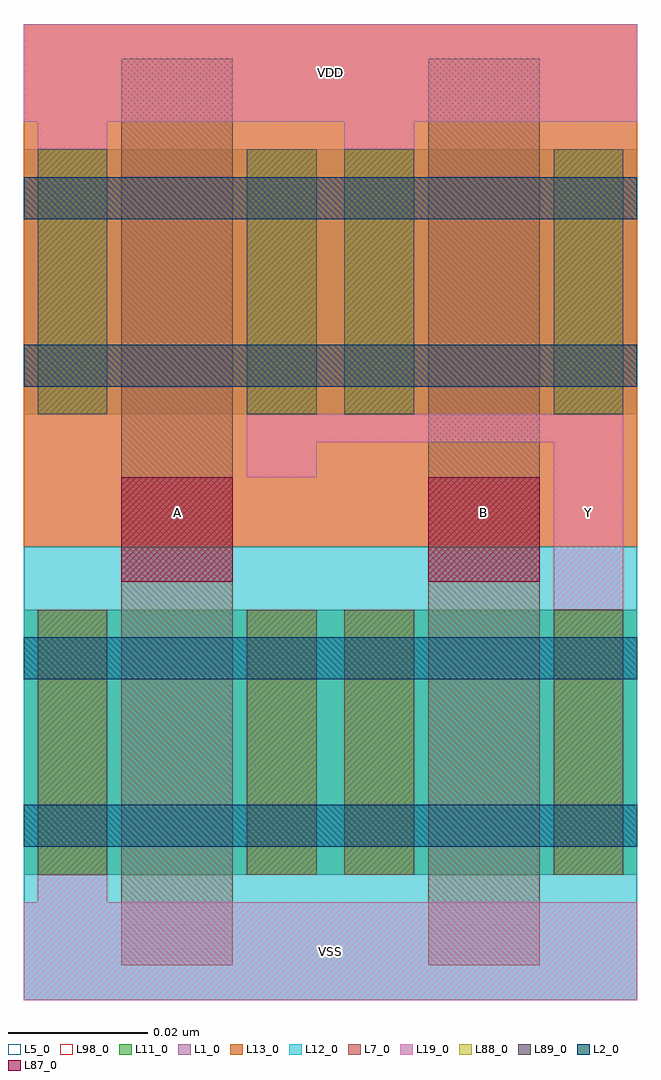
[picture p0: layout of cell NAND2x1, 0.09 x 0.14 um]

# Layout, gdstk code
import gdstk
lib = gdstk.Library(unit=1e-6, precision=1e-12)
def R(c, l, rs):  # rectangles x0, y0, x1, y1
    for r in rs: c.add(gdstk.rectangle(r[:2], r[2:], *l))
L1_0 = (1, 0)
L2_0 = (2, 0)
L5_0 = (5, 0)
L7_0 = (7, 0)
L11_0 = (11, 0)
L12_0 = (12, 0)
L13_0 = (13, 0)
L19_0 = (19, 0)
L87_0 = (87, 0)
L88_0 = (88, 0)
L89_0 = (89, 0)
L98_0 = (98, 0)

nand2x1 = lib.new_cell('NAND2x1')
R(nand2x1, L1_0, [(0,0.065,0.088,0.14)])
R(nand2x1, L2_0, [(0,0.022,0.088,0.028), (0,0.046,0.088,0.052), (0,0.088,0.088,0.094), (0,0.112,0.088,0.118)])
R(nand2x1, L5_0, [(0,0,0.088,0.14)])
R(nand2x1, L7_0, [(0.014,0.005,0.03,0.135), (0.058,0.005,0.074,0.135)])
R(nand2x1, L11_0, [(0,0.018,0.088,0.056), (0,0.084,0.088,0.122)])
R(nand2x1, L12_0, [(0,0,0.088,0.065)])
R(nand2x1, L13_0, [(0,0.065,0.088,0.14)])
R(nand2x1, L19_0, [(0,0,0.088,0.014), (0.002,0,0.012,0.018), (0.076,0.056,0.086,0.084), (0.032,0.075,0.042,0.084), (0.032,0.08,0.086,0.084), (0.002,0.122,0.012,0.14), (0.046,0.122,0.056,0.14), (0,0.126,0.088,0.14)])
R(nand2x1, L87_0, [(0.014,0.06,0.03,0.075), (0.058,0.06,0.074,0.075)])
R(nand2x1, L88_0, [(0.002,0.018,0.012,0.056), (0.032,0.018,0.042,0.056), (0.046,0.018,0.056,0.056), (0.076,0.018,0.086,0.056), (0.002,0.084,0.012,0.122), (0.032,0.084,0.042,0.122), (0.046,0.084,0.056,0.122), (0.076,0.084,0.086,0.122)])
R(nand2x1, L89_0, [(0.002,0.018,0.012,0.056), (0.032,0.018,0.042,0.056), (0.046,0.018,0.056,0.056), (0.076,0.018,0.086,0.056), (0.002,0.084,0.012,0.122), (0.032,0.084,0.042,0.122), (0.046,0.084,0.056,0.122), (0.076,0.084,0.086,0.122)])
R(nand2x1, L98_0, [(0,0,0.088,0.14)])
nand2x1.add(gdstk.Label('A', (0.022,0.07), layer=101, texttype=0))
nand2x1.add(gdstk.Label('B', (0.066,0.07), layer=101, texttype=0))
nand2x1.add(gdstk.Label('Y', (0.081,0.07), layer=101, texttype=0))
nand2x1.add(gdstk.Label('VDD', (0.044,0.133), layer=101, texttype=0))
nand2x1.add(gdstk.Label('VSS', (0.044,0.007), layer=101, texttype=0))

lib.write_gds('NAND2x1.gds')
